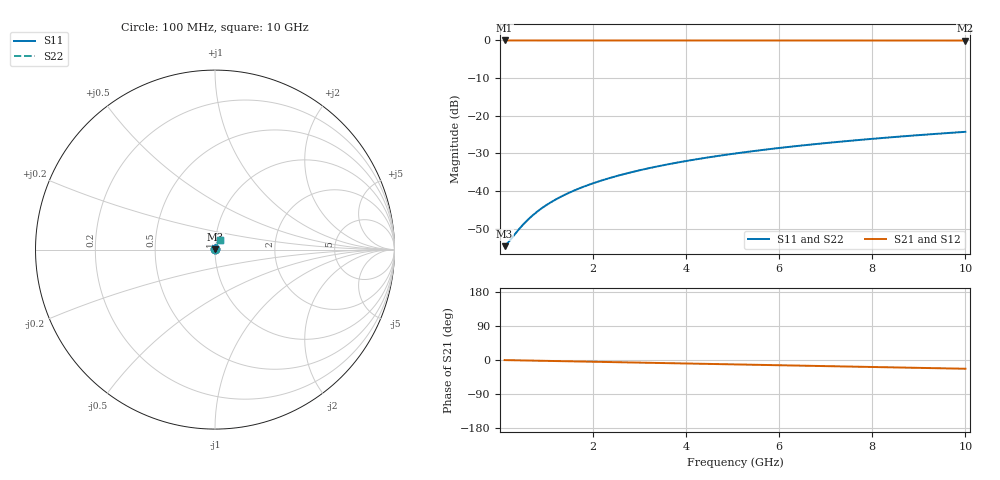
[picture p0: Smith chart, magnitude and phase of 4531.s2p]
# Hz S RI R 50.00
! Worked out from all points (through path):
!   100 points, 100 MHz to 10 GHz, reference 50 ohm
!   highest |S21| = -0.02 dB at 100 MHz (marker M1); lowest = 0.0 dB at 10 GHz (marker M2)
!   group delay of S21, straight-line fit = 6.41 ps
!   lowest |S11| = -54.6 dB at 100 MHz (marker M3), VSWR 1.00, Z = 50.2 + j0.0623 ohm
!   |S11| at or under -10 dB: start of sweep to end of sweep
!   |S22| runs from -54.6 to -24.3 dB; largest |S21 - S12| = 0
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1e8  0.00175 0.000621  0.9982 -0.00401  0.9982 -0.00401  0.00175 0.000621
2e8  0.00176 0.00124  0.9982 -0.00801  0.9982 -0.00801  0.00176 0.00124
4e8  0.00181 0.00248  0.9981 -0.016  0.9981 -0.016  0.00181 0.00248
5e8  0.00183 0.0031  0.998 -0.02  0.998 -0.02  0.00183 0.0031
6e8  0.00187 0.00372  0.9979 -0.024  0.9979 -0.024  0.00187 0.00372
7e8  0.0019 0.00434  0.9978 -0.028  0.9978 -0.028  0.0019 0.00434
8e8  0.00194 0.00496  0.9977 -0.032  0.9977 -0.032  0.00194 0.00496
1e9  0.00204 0.0062  0.9974 -0.04  0.9974 -0.04  0.00204 0.0062
1.2e9  0.00215 0.00743  0.997 -0.048  0.997 -0.048  0.00215 0.00743
1.5e9  0.00236 0.00928  0.9963 -0.06  0.9963 -0.06  0.00236 0.00928
1.8e9  0.00261 0.0111  0.9955 -0.072  0.9955 -0.072  0.00261 0.0111
2.1e9  0.0029 0.013  0.9945 -0.084  0.9945 -0.084  0.0029 0.013
2.5e9  0.00336 0.0154  0.993 -0.1  0.993 -0.1  0.00336 0.0154
2.9e9  0.0039 0.0178  0.9912 -0.1159  0.9912 -0.1159  0.0039 0.0178
3.4e9  0.00468 0.0208  0.9886 -0.1358  0.9886 -0.1358  0.00468 0.0208
4.2e9  0.00618 0.0255  0.9835 -0.1675  0.9835 -0.1675  0.00618 0.0255
5.1e9  0.00823 0.0307  0.9766 -0.203  0.9766 -0.203  0.00823 0.0307
5.9e9  0.0104 0.0352  0.9694 -0.2344  0.9694 -0.2344  0.0104 0.0352
6.7e9  0.0128 0.0395  0.9611 -0.2655  0.9611 -0.2655  0.0128 0.0395
7.5e9  0.0155 0.0437  0.9518 -0.2963  0.9518 -0.2963  0.0155 0.0437
8.4e9  0.0188 0.0482  0.9401 -0.3306  0.9401 -0.3306  0.0188 0.0482
1e10  0.0256 0.0555  0.9162 -0.3906  0.9162 -0.3906  0.0256 0.0555
